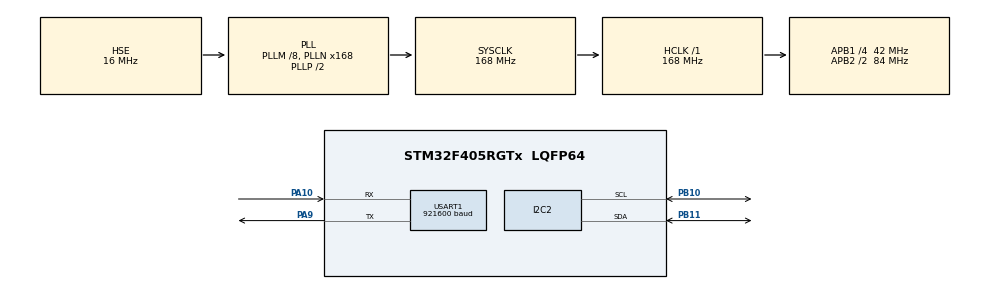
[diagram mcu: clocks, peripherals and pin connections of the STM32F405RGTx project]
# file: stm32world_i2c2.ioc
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I2C2.I2C_Mode=I2C_Fast
Mcu.Family=STM32F4
Mcu.Name=STM32F405RGTx
Mcu.Package=LQFP64
NVIC.PriorityGroup=NVIC_PRIORITYGROUP_4
PA10.Mode=Asynchronous
PA10.Signal=USART1_RX
PA13.Mode=Trace_Asynchronous_SW
PA13.Signal=SYS_JTMS-SWDIO
PA14.Mode=Trace_Asynchronous_SW
PA14.Signal=SYS_JTCK-SWCLK
PA9.Mode=Asynchronous
PA9.Signal=USART1_TX
PB10.Mode=I2C
PB10.Signal=I2C2_SCL
PB11.Mode=I2C
PB11.Signal=I2C2_SDA
PB3.Mode=Trace_Asynchronous_SW
PB3.Signal=SYS_JTDO-SWO
PH0-OSC_IN.Mode=HSE-External-Oscillator
PH0-OSC_IN.Signal=RCC_OSC_IN
PH1-OSC_OUT.Mode=HSE-External-Oscillator
PH1-OSC_OUT.Signal=RCC_OSC_OUT
ProjectManager.HeapSize=0x200
ProjectManager.StackSize=0x400
ProjectManager.TargetToolchain=STM32CubeIDE
RCC.48MHZClocksFreq_Value=84000000
RCC.AHBFreq_Value=168000000
RCC.APB1CLKDivider=RCC_HCLK_DIV4
RCC.APB1Freq_Value=42000000
RCC.APB1TimFreq_Value=84000000
RCC.APB2CLKDivider=RCC_HCLK_DIV2
RCC.APB2Freq_Value=84000000
RCC.APB2TimFreq_Value=168000000
RCC.CortexFreq_Value=168000000
RCC.HCLKFreq_Value=168000000
RCC.HSE_VALUE=16000000
RCC.HSI_VALUE=16000000
RCC.LSE_VALUE=32768
RCC.PLLM=8
RCC.PLLN=168
RCC.PLLSourceVirtual=RCC_PLLSOURCE_HSE
RCC.SYSCLKFreq_VALUE=168000000
RCC.SYSCLKSource=RCC_SYSCLKSOURCE_PLLCLK
RCC.VCOOutputFreq_Value=336000000
USART1.BaudRate=921600
USART1.VirtualMode=VM_ASYNC
board=custom

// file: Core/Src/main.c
/* USER CODE BEGIN Header */
/**
 ******************************************************************************
 * @file           : main.c
 * @brief          : Main program body
 ******************************************************************************
 * @attention
 *
 * Copyright (c) 2024 Lars Boegild Thomsen <lth@stm32world.com>
 * All rights reserved.
 *
 * This software is licensed under terms that can be found in the LICENSE file
 * in the root directory of this software component.
 * If no LICENSE file comes with this software, it is provided AS-IS.
 *
 ******************************************************************************
 */
/* USER CODE END Header */
#include "main.h"

/* USER CODE BEGIN Includes */
#include <stdio.h>
#include <math.h>
/* USER CODE END Includes */

/* USER CODE BEGIN PTD */

typedef struct {
    short ac1;
    short ac2;
    short ac3;
    unsigned short ac4;
    unsigned short ac5;
    unsigned short ac6;
    short b1;
    short b2;
    short mb;
    short mc;
    short md;
    long b5;
} BMP085_Calibration_TypeDef;

/* USER CODE END PTD */

/* USER CODE BEGIN PD */
#define DEVICE_ADDRESS 0x77
#define CALIBRATION_ADDRESS 0xAA
/* USER CODE END PD */

I2C_HandleTypeDef hi2c2;

UART_HandleTypeDef huart1;

/* USER CODE BEGIN PV */

BMP085_Calibration_TypeDef calibration_data;

/* USER CODE END PV */

void SystemClock_Config(void);
static void MX_GPIO_Init(void);
static void MX_I2C2_Init(void);
static void MX_USART1_UART_Init(void);

/* USER CODE BEGIN 0 */

// Send stdout to USART1 and stderr to SWO
int _write(int fd, char *ptr, int len) {

    if (fd == 1) {
        HAL_StatusTypeDef hstatus;
        hstatus = HAL_UART_Transmit(&huart1, (uint8_t*) ptr, len, HAL_MAX_DELAY);
        if (hstatus == HAL_OK)
            return len;
        else
            return -1;
    } else if (fd == 2) {
        for (int i = 0; i < len; i++) {
            ITM_SendChar(ptr[i]); /* core_cm4.h */
        }
        return len;
    } else {
        return -1;
    }
    return -1;
}

void read_calibration_data() {

    uint8_t buf[22] = {0};

//    buf[0] = CALIBRATION_ADDRESS;
//    if (HAL_I2C_Master_Transmit(&hi2c2, DEVICE_ADDRESS << 1, &buf, 1, HAL_MAX_DELAY) != HAL_OK) {
//        Error_Handler();
//    }
//
//    if (HAL_I2C_Master_Receive(&hi2c2, DEVICE_ADDRESS << 1, &buf, 22, HAL_MAX_DELAY) != HAL_OK) {
//        Error_Handler();
//    }
    if (HAL_I2C_Mem_Read(&hi2c2, DEVICE_ADDRESS << 1, CALIBRATION_ADDRESS, 1, &buf, 22, HAL_MAX_DELAY) != HAL_OK) {
        Error_Handler();
    }

    calibration_data.ac1 = (int8_t) buf[0] << 8 | buf[1];
    calibration_data.ac2 = (int8_t) buf[2] << 8 | buf[3];
    calibration_data.ac3 = (int8_t) buf[4] << 8 | buf[5];
    calibration_data.ac4 = buf[6] << 8 | buf[7];
    calibration_data.ac5 = buf[8] << 8 | buf[9];
    calibration_data.ac6 = buf[10] << 8 | buf[11];
    calibration_data.b1 = (int8_t) buf[12] << 8 | buf[13];
    calibration_data.b2 = (int8_t) buf[14] << 8 | buf[15];
    calibration_data.mb = (int8_t) buf[16] << 8 | buf[17];
    calibration_data.mc = (int8_t) buf[18] << 8 | buf[19];
    calibration_data.md = (int8_t) buf[20] << 8 | buf[21];

}

/* USER CODE END 0 */

int main(void)
{

  /* MCU Configuration--------------------------------------------------------*/

  /* Reset of all peripherals, Initializes the Flash interface and the Systick. */
  HAL_Init();

  /* Configure the system clock */
  SystemClock_Config();

  /* Initialize all configured peripherals */
  MX_GPIO_Init();
  MX_I2C2_Init();
  MX_USART1_UART_Init();
  /* USER CODE BEGIN 2 */

    printf("\n\n\n-------------\nStarting i2c2\n");

    printf("\nScan I2C2\n");

    // Go through all possible i2c addresses
    for (uint8_t i = 0; i < 128; i++) {

        if (HAL_I2C_IsDeviceReady(&hi2c2, (uint16_t) (i << 1), 3, 5) == HAL_OK) {
            // We got an ack
            printf("%2x ", i);
        } else {
            printf("-- ");
        }

        if (i > 0 && (i + 1) % 16 == 0)
            printf("\n");

    }

    printf("\n");

//    uint8_t buf[4] = { 0 };
//
//    // Show endianness
//    int16_t *int16_p = (int16_t*) &buf;
//    int32_t *int32_p = (int32_t*) &buf;
//
//    printf("------\n");
//    printf("Buffer = %02x %02d %02x %02x\n", buf[0], buf[1], buf[2], buf[3]);
//    printf("Setting int16_p\n");
//    *int16_p = 0x0a0b;
//    printf("Buffer val = 0x%04x - buffer = %02x %02x %02x %02x\n", *int16_p, buf[0], buf[1], buf[2], buf[3]);
//    printf("Setting int32_p\n");
//    *int32_p = 0x0A0B0C0D;
//    printf("Buffer val = 0x%08lx - buffer = %02x %02x %02x %02x\n", *int32_p, buf[0], buf[1], buf[2], buf[3]);
//    printf("------\n");
//
//    printf("Setting int16_p\n");
//    *int16_p = -1;
//    printf("Buffer val = 0x%04x - buffer = %02x %02x %02x %02x\n", *int16_p, buf[0], buf[1], buf[2], buf[3]);
//    printf("Setting int32_p\n");
//    *int32_p = -1;
//    printf("Buffer val = 0x%08lx - buffer = %02x %02x %02x %02x\n", *int32_p, buf[0], buf[1], buf[2], buf[3]);
//    printf("------\n");

    read_calibration_data();

  /* USER CODE END 2 */

  /* Infinite loop */
  /* USER CODE BEGIN WHILE */

    uint32_t now = 0, loop_cnt = 0, next_tick = 1000;

    while (1) {

        now = uwTick;

        if (now >= next_tick) {

            printf("Tick %lu (loop = %lu)\n", now / 1000, loop_cnt);

            loop_cnt = 0;
            next_tick = now + 1000;

        }

        ++loop_cnt;
    /* USER CODE END WHILE */

    }
}

void SystemClock_Config(void)
{
  RCC_OscInitTypeDef RCC_OscInitStruct = {0};
  RCC_ClkInitTypeDef RCC_ClkInitStruct = {0};

  /** Configure the main internal regulator output voltage
  */
  __HAL_RCC_PWR_CLK_ENABLE();
  __HAL_PWR_VOLTAGESCALING_CONFIG(PWR_REGULATOR_VOLTAGE_SCALE1);

  /** Initializes the RCC Oscillators according to the specified parameters
  * in the RCC_OscInitTypeDef structure.
  */
  RCC_OscInitStruct.OscillatorType = RCC_OSCILLATORTYPE_HSE;
  RCC_OscInitStruct.HSEState = RCC_HSE_ON;
  RCC_OscInitStruct.PLL.PLLState = RCC_PLL_ON;
  RCC_OscInitStruct.PLL.PLLSource = RCC_PLLSOURCE_HSE;
  RCC_OscInitStruct.PLL.PLLM = 8;
  RCC_OscInitStruct.PLL.PLLN = 168;
  RCC_OscInitStruct.PLL.PLLP = RCC_PLLP_DIV2;
  RCC_OscInitStruct.PLL.PLLQ = 4;
  if (HAL_RCC_OscConfig(&RCC_OscInitStruct) != HAL_OK)
  {
    Error_Handler();
  }

  /** Initializes the CPU, AHB and APB buses clocks
  */
  RCC_ClkInitStruct.ClockType = RCC_CLOCKTYPE_HCLK|RCC_CLOCKTYPE_SYSCLK
                              |RCC_CLOCKTYPE_PCLK1|RCC_CLOCKTYPE_PCLK2;
  RCC_ClkInitStruct.SYSCLKSource = RCC_SYSCLKSOURCE_PLLCLK;
  RCC_ClkInitStruct.AHBCLKDivider = RCC_SYSCLK_DIV1;
  RCC_ClkInitStruct.APB1CLKDivider = RCC_HCLK_DIV4;
  RCC_ClkInitStruct.APB2CLKDivider = RCC_HCLK_DIV2;

  if (HAL_RCC_ClockConfig(&RCC_ClkInitStruct, FLASH_LATENCY_5) != HAL_OK)
  {
    Error_Handler();
  }
}

static void MX_I2C2_Init(void)
{

  hi2c2.Instance = I2C2;
  hi2c2.Init.ClockSpeed = 400000;
  hi2c2.Init.DutyCycle = I2C_DUTYCYCLE_2;
  hi2c2.Init.OwnAddress1 = 0;
  hi2c2.Init.AddressingMode = I2C_ADDRESSINGMODE_7BIT;
  hi2c2.Init.DualAddressMode = I2C_DUALADDRESS_DISABLE;
  hi2c2.Init.OwnAddress2 = 0;
  hi2c2.Init.GeneralCallMode = I2C_GENERALCALL_DISABLE;
  hi2c2.Init.NoStretchMode = I2C_NOSTRETCH_DISABLE;
  if (HAL_I2C_Init(&hi2c2) != HAL_OK)
  {
    Error_Handler();
  }

}

static void MX_USART1_UART_Init(void)
{

  huart1.Instance = USART1;
  huart1.Init.BaudRate = 921600;
  huart1.Init.WordLength = UART_WORDLENGTH_8B;
  huart1.Init.StopBits = UART_STOPBITS_1;
  huart1.Init.Parity = UART_PARITY_NONE;
  huart1.Init.Mode = UART_MODE_TX_RX;
  huart1.Init.HwFlowCtl = UART_HWCONTROL_NONE;
  huart1.Init.OverSampling = UART_OVERSAMPLING_16;
  if (HAL_UART_Init(&huart1) != HAL_OK)
  {
    Error_Handler();
  }

}

static void MX_GPIO_Init(void)
{

  /* GPIO Ports Clock Enable */
  __HAL_RCC_GPIOH_CLK_ENABLE();
  __HAL_RCC_GPIOB_CLK_ENABLE();
  __HAL_RCC_GPIOA_CLK_ENABLE();

}

void Error_Handler(void)
{
    __disable_irq();
    while (1)
    {
    }
}
